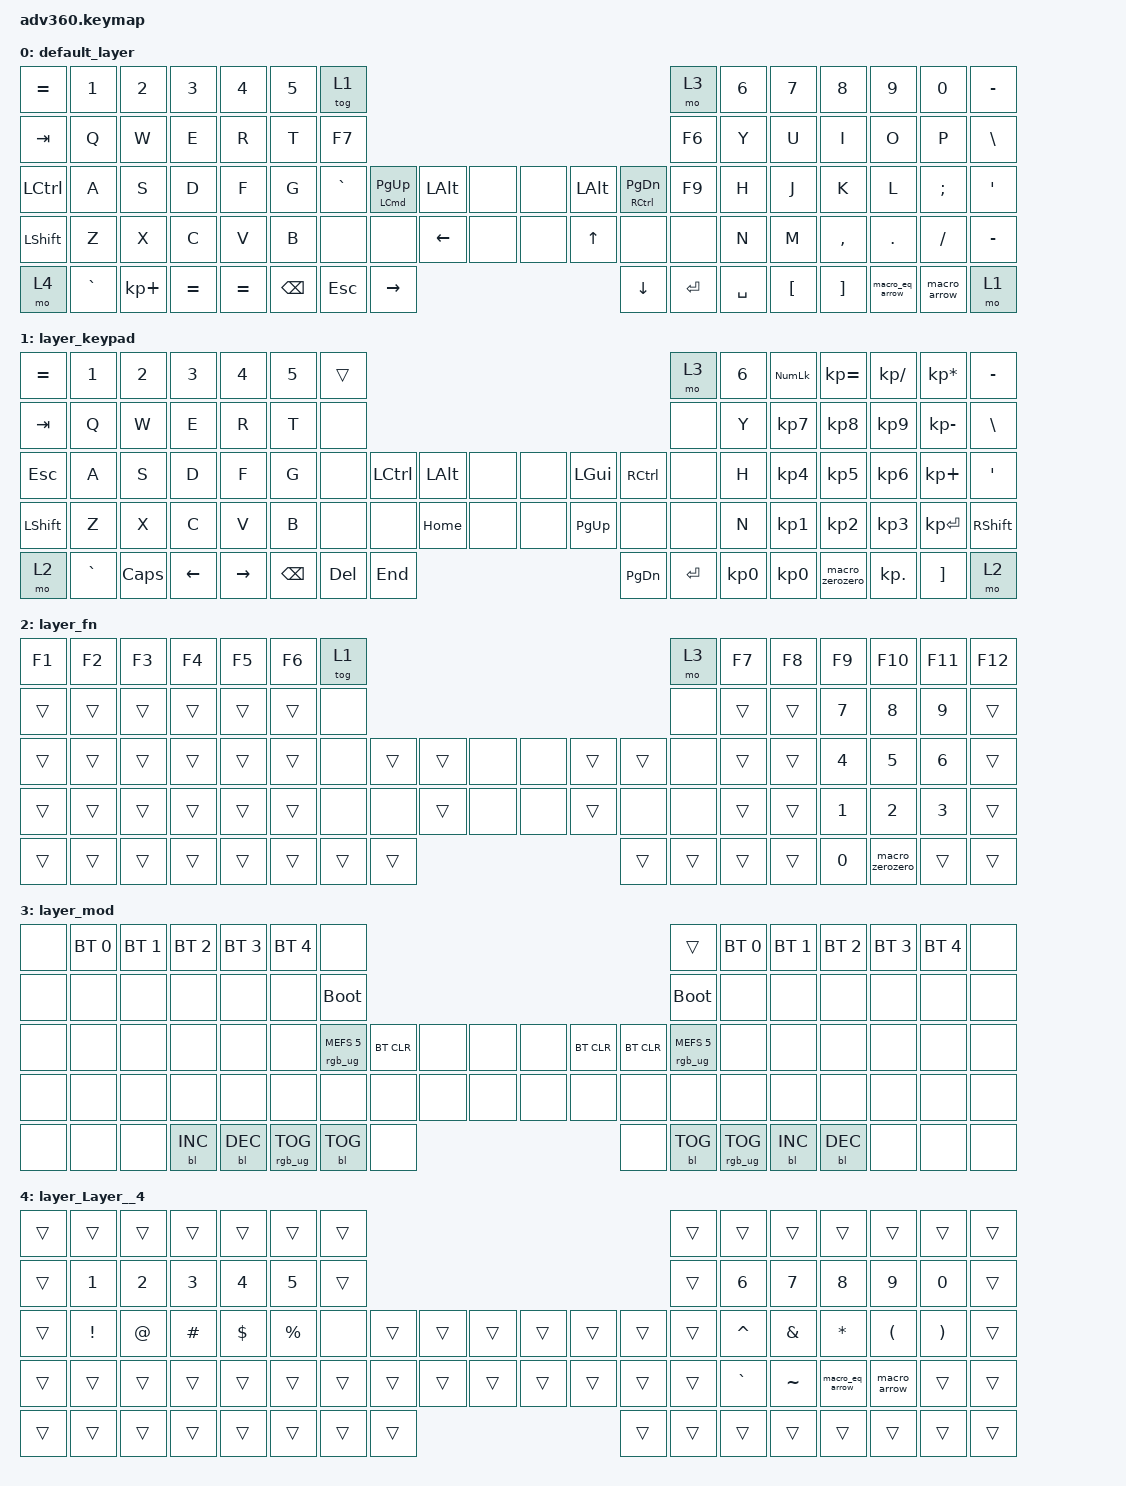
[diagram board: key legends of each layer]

/*
 * Copyright (c) 2020 The ZMK Contributors
 *
 * SPDX-License-Identifier: MIT
 */


/* THIS FILE WAS GENERATED!
 *
 * This file was generated automatically. You may or may not want to
 * edit it directly.
 */

#include <behaviors.dtsi>
#include <dt-bindings/zmk/keys.h>
#include <dt-bindings/zmk/bt.h>
#include <dt-bindings/zmk/rgb.h>
#include <dt-bindings/zmk/backlight.h>

/ {
  behaviors {
    #include "macros.dtsi"

    hm: homerow_mods {
        compatible = "zmk,behavior-hold-tap";
        label = "HOMEROW_MODS";
        #binding-cells = <2>;
        tapping-term-ms = <200>;
        quick_tap_ms = <175>;
        flavor = "tap-preferred";
        bindings = <&kp>, <&kp>;
    };
  };

    keymap {
        compatible = "zmk,keymap";


        default_layer {
            bindings = <
 &kp EQUAL     &kp N1       &kp N2     &kp N3     &kp N4  &kp N5               &tog 1                                                                                              &mo 3  &kp N6    &kp N7     &kp N8           &kp N9        &kp N0  &kp MINUS
   &kp TAB      &kp Q        &kp W      &kp E      &kp R   &kp T               &kp F7                                                                                             &kp F6   &kp Y     &kp U      &kp I            &kp O         &kp P   &kp BSLH
 &kp LCTRL      &kp A        &kp S      &kp D      &kp F   &kp G            &kp GRAVE  &mt LCMD PAGE_UP         &kp LALT   &none   &none    &kp LEFT_ALT  &mt RCTRL PAGE_DOWN     &kp F9   &kp H     &kp J      &kp K            &kp L      &kp SEMI    &kp SQT
 &kp LSHFT      &kp Z        &kp X      &kp C      &kp V   &kp B                &none             &none   &kp LEFT_ARROW   &none   &none    &kp UP_ARROW                &none      &none   &kp N     &kp M  &kp COMMA          &kp DOT      &kp FSLH  &kp MINUS
     &mo 4  &kp GRAVE  &kp KP_PLUS  &kp EQUAL  &kp EQUAL                     &kp BSPC           &kp ESC  &kp RIGHT_ARROW                  &kp DOWN_ARROW            &kp ENTER  &kp SPACE          &kp LBKT   &kp RBKT  &macro_eq_arrow  &macro_arrow      &mo 1
            >;
        };

        layer_keypad {
            bindings = <
 &kp EQUAL     &kp N1    &kp N2    &kp N3     &kp N4  &kp N5              &trans                                                                 &mo 3  &kp N6  &kp KP_NUM     &kp KP_EQUAL  &kp KP_DIVIDE  &kp KP_MULTIPLY  &kp MINUS
   &kp TAB      &kp Q     &kp W     &kp E      &kp R   &kp T               &none                                                                 &none   &kp Y   &kp KP_N7        &kp KP_N8      &kp KP_N9     &kp KP_MINUS   &kp BSLH
   &kp ESC      &kp A     &kp S     &kp D      &kp F   &kp G               &none  &kp LCTRL  &kp LALT   &none   &none   &kp LGUI  &kp RCTRL      &none   &kp H   &kp KP_N4        &kp KP_N5      &kp KP_N6      &kp KP_PLUS    &kp SQT
 &kp LSHFT      &kp Z     &kp X     &kp C      &kp V   &kp B               &none      &none  &kp HOME   &none   &none  &kp PG_UP      &none      &none   &kp N   &kp KP_N1        &kp KP_N2      &kp KP_N3     &kp KP_ENTER  &kp RSHFT
     &mo 2  &kp GRAVE  &kp CAPS  &kp LEFT  &kp RIGHT                    &kp BSPC    &kp DEL   &kp END                  &kp PG_DN  &kp ENTER  &kp KP_N0           &kp KP_N0  &macro_zerozero     &kp KP_DOT         &kp RBKT      &mo 2
            >;
        };

        layer_fn {
            bindings = <
 &kp F1  &kp F2  &kp F3  &kp F4  &kp F5  &kp F6            &tog 1                                                   &mo 3  &kp F7  &kp F8  &kp F9          &kp F10  &kp F11  &kp F12
 &trans  &trans  &trans  &trans  &trans  &trans             &none                                                   &none  &trans  &trans  &kp N7           &kp N8   &kp N9   &trans
 &trans  &trans  &trans  &trans  &trans  &trans             &none  &trans  &trans   &none   &none  &trans  &trans   &none  &trans  &trans  &kp N4           &kp N5   &kp N6   &trans
 &trans  &trans  &trans  &trans  &trans  &trans             &none   &none  &trans   &none   &none  &trans   &none   &none  &trans  &trans  &kp N1           &kp N2   &kp N3   &trans
 &trans  &trans  &trans  &trans  &trans                    &trans  &trans  &trans                  &trans  &trans  &trans          &trans  &kp N0  &macro_zerozero   &trans   &trans
            >;
        };

        layer_mod {
            bindings = <
  &none  &bt BT_SEL 0  &bt BT_SEL 1  &bt BT_SEL 2  &bt BT_SEL 3  &bt BT_SEL 4                             &none                                                                              &trans  &bt BT_SEL 0  &bt BT_SEL 1  &bt BT_SEL 2  &bt BT_SEL 3  &bt BT_SEL 4   &none
  &none         &none         &none         &none         &none         &none                       &bootloader                                                                         &bootloader         &none         &none         &none         &none         &none   &none
  &none         &none         &none         &none         &none         &none            &rgb_ug RGB_MEFS_CMD 5  &bt BT_CLR   &none   &none   &none  &bt BT_CLR  &bt BT_CLR  &rgb_ug RGB_MEFS_CMD 5         &none         &none         &none         &none         &none   &none
  &none         &none         &none         &none         &none         &none                             &none       &none   &none   &none   &none       &none       &none                   &none         &none         &none         &none         &none         &none   &none
  &none         &none         &none    &bl BL_INC    &bl BL_DEC                                 &rgb_ug RGB_TOG  &bl BL_TOG   &none                       &none  &bl BL_TOG         &rgb_ug RGB_TOG                  &bl BL_INC    &bl BL_DEC         &none         &none   &none
            >;
        };

        layer_Layer__4 {
            bindings = <
 &trans           &trans  &trans    &trans      &trans       &trans            &trans                                                  &trans     &trans         &trans           &trans                &trans                 &trans  &trans
 &trans           &kp N1  &kp N2    &kp N3      &kp N4       &kp N5            &trans                                                  &trans     &kp N6         &kp N7           &kp N8                &kp N9                 &kp N0  &trans
 &trans  &kp EXCLAMATION  &kp AT  &kp HASH  &kp DOLLAR  &kp PERCENT             &none  &trans  &trans  &trans  &trans  &trans  &trans  &trans  &kp CARET  &kp AMPERSAND     &kp ASTERISK  &kp LEFT_PARENTHESIS  &kp RIGHT_PARENTHESIS  &trans
 &trans           &trans  &trans    &trans      &trans       &trans            &trans  &trans  &trans  &trans  &trans  &trans  &trans  &trans  &kp GRAVE      &kp TILDE  &macro_eq_arrow          &macro_arrow                 &trans  &trans
 &trans           &trans  &trans    &trans      &trans                         &trans  &trans  &trans                  &trans  &trans  &trans                    &trans           &trans                &trans                 &trans  &trans
            >;
        };

    };
};
